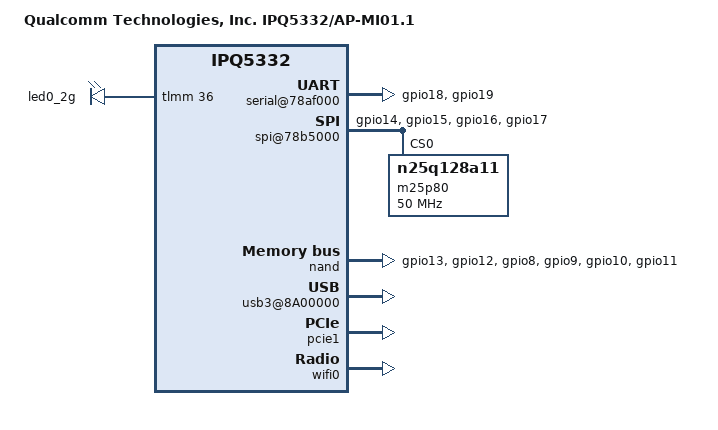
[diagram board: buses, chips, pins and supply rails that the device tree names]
// SPDX-License-Identifier: (GPL-2.0+ OR BSD-3-Clause)
/*
 * IPQ5332 AP-MI01.1 board device tree source
 *
 * Copyright (c) 2020-2021 The Linux Foundation. All rights reserved.
 * Copyright (c) 2022 Qualcomm Innovation Center, Inc. All rights reserved.
 */

/dts-v1/;

#include "ipq5332.dtsi"

#ifdef __IPQ_MEM_PROFILE_512_MB__
#include "ipq5332-512MB-memory.dtsi"
#else
#include "ipq5332-default-memory.dtsi"
#endif

/ {
	#address-cells = <0x2>;
	#size-cells = <0x2>;
	model = "Qualcomm Technologies, Inc. IPQ5332/AP-MI01.1";
	compatible = "qcom,ipq5332-ap-mi01.1", "qcom,ipq5332";
	interrupt-parent = <&intc>;

	aliases {
		serial0 = &blsp1_uart0;
	};

	chosen {
		stdout-path = "serial0";
		bootargs-append = " clk_ignore_unused";
	};

	soc {
		pinctrl@1000000 {
			emmc_pins: emmc_pins {
				emmc_clk {
					pins = "gpio13";
					function = "sdc_clk";
					drive-strength = <8>;
					bias-pull-down;
				};
				emmc_cmd {
					pins = "gpio12";
					function = "sdc_cmd";
					drive-strength = <8>;
					bias-pull-up;
				};
				emmc_data {
					pins = "gpio8", "gpio9", "gpio10",
						"gpio11";
					function = "sdc_data";
					drive-strength = <8>;
					bias-pull-down;
				};
			};

			qspi_nand_pins: qspi_nand_pins {
				qspi_clock {
					pins = "gpio13";
					function = "qspi_clk";
					drive-strength = <8>;
					bias-pull-down;
				};

				qspi_cs {
					pins = "gpio12";
					function = "qspi_cs";
					drive-strength = <8>;
					bias-pull-up;
				};

				qspi_data {
					pins = "gpio8", "gpio9", "gpio10", "gpio11";
					function = "qspi_data";
					drive-strength = <8>;
					bias-pull-down;
				};
			};

			spi_0_pins: spi0-pinmux {
				spi_clock {
					pins = "gpio14";
					function = "blsp0_spi";
					drive-strength = <2>;
					bias-pull-down;
				};

				spi_mosi {
					pins = "gpio15";
					function = "blsp0_spi";
					drive-strength = <2>;
					bias-pull-down;
				};

				spi_miso {
					pins = "gpio16";
					function = "blsp0_spi";
					drive-strength = <2>;
					bias-pull-down;
				};

				spi_cs {
					pins = "gpio17";
					function = "blsp0_spi";
					drive-strength = <2>;
					bias-pull-up;
				};
			};

			serial_0_pins: serial0-pinmux {
				pins = "gpio18", "gpio19";
				function = "blsp0_uart0";
				drive-strength = <8>;
				bias-pull-up;
			};

			i2c_1_pins: i2c-1-pinmux {
				pins = "gpio29", "gpio30";
				function = "blsp1_i2c0";
				drive-strength = <8>;
				bias-pull-up;
			};

			leds_pins: leds_pinmux {
				led0_2g {
					pins = "gpio36";
					function = "gpio";
					drive-strength = <8>;
					bias-pull-down;
				};
			};
		};

		gcc: gcc@1800000 {
			gcc-use-dummy;
		};

		nsscc: nsscc@39b00000 {
			nsscc-use-dummy;
		};

		serial@78af000 {
			pinctrl-0 = <&serial_0_pins>;
			pinctrl-names = "default";
			status = "ok";
		};

		spi@78b5000 {
			pinctrl-0 = <&spi_0_pins>;
			pinctrl-names = "default";
			cs-select = <0>;
			status = "ok";

			m25p80@0 {
				compatible = "n25q128a11";
				#address-cells = <1>;
				#size-cells = <1>;
				reg = <0>;
				spi-max-frequency = <50000000>;
			};
		};

		i2c_1: i2c@78b6000 {
			pinctrl-0 = <&i2c_1_pins>;
			pinctrl-names = "default";
		};

		dma@7984000 {
			status = "ok";
		};

		nand: nand@79b0000 {
			pinctrl-0 = <&qspi_nand_pins>;
			pinctrl-names = "default";
			status = "ok";
		};

		usb3@8A00000 {
			status = "ok";
		};

		ssuniphy_0: ssuniphy@4b0000 {
			status = "ok";
		};

		hs_m31phy_0: hs_m31phy@7b000 {
			status = "ok";
		};

		leds {
			compatible = "gpio-leds";
			pinctrl-0 = <&leds_pins>;
			pinctrl-names = "default";
			led@36 {
				label = "led0_2g";
				gpios = <&tlmm 36 GPIO_ACTIVE_HIGH>;
				linux,default-trigger = "led_2g";
				default-state = "off";
			};
		};

		pcie1_phy_x2: phy_x2@4b1000 {
			status = "ok";
		};

		pcie1: pcie@18000000 {
			max-link-speed = <1>;
			perst-gpio = <&tlmm 47 GPIO_ACTIVE_LOW>;
			status = "ok";
			pcie1_rp {
				reg = <0 0 0 0 0>;

				qcom,mhi@1 {
					reg = <0 0 0 0 0>;
				};
			};
		};
	};
};

&wifi0 {
	qcom,rproc = <&q6_wcss_pd1>;
	qcom,multipd_arch;
	qcom,userpd-subsys-name = "q6v5_wcss_userpd1";
	mem-region = <&q6_region>;
	status = "ok";
};
